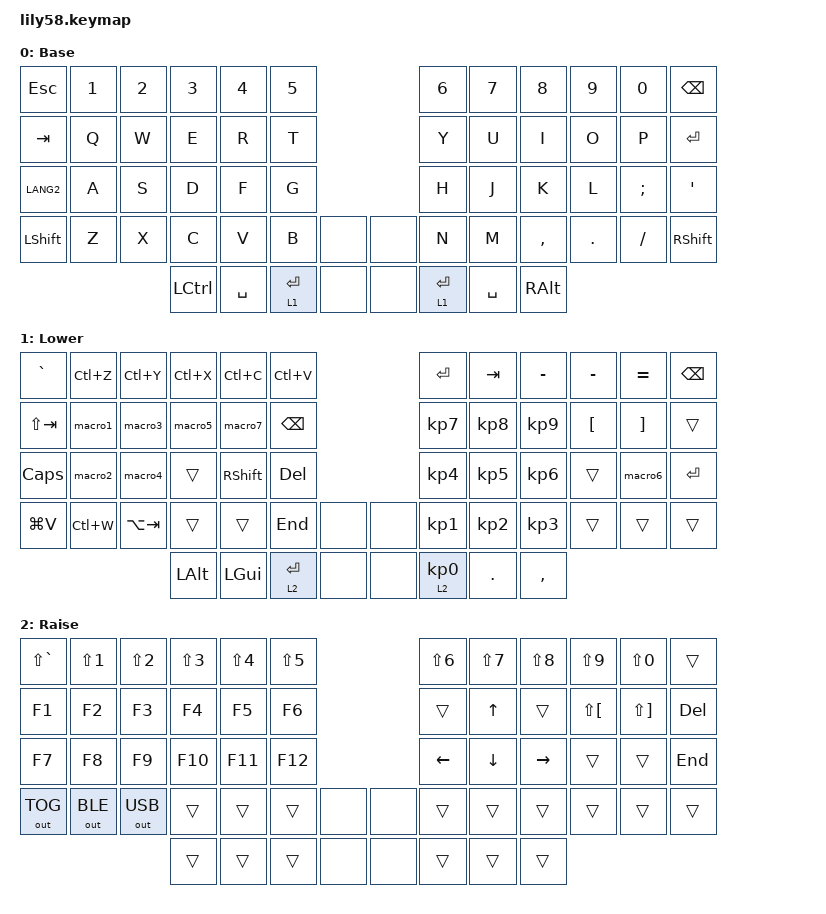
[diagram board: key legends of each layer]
/*
 * Copyright (c) 2020 The ZMK Contributors
 *
 * SPDX-License-Identifier: MIT
 */

#include <behaviors.dtsi>
#include <dt-bindings/zmk/keys.h>
#include <dt-bindings/zmk/outputs.h>

/ {
    macros {
        macro1: macro1 {
            compatible = "zmk,behavior-macro";
            #binding-cells = <0>;
            bindings = <&kp R &kp B &kp G &kp W &kp N0 &kp N1 &kp N3 &kp ENTER &kp D &kp K &kp S &kp S &kp U &kp D &kp EXCL &kp N1 &kp N1 &kp ENTER &kp ENTER>;
            tap-ms = <0>;
            wait-ms = <0>;
        };

        macro2: macro2 {
            compatible = "zmk,behavior-macro";
            #binding-cells = <0>;
            bindings = <&kp D &kp K &kp S &kp S &kp U &kp D &kp EXCL &kp N1 &kp N1 &kp ENTER>;
            wait-ms = <0>;
            tap-ms = <0>;
        };

        macro3: macro3 {
            compatible = "zmk,behavior-macro";
            #binding-cells = <0>;
            bindings = <&kp R &kp B &kp G &kp W &kp N0 &kp N1 &kp TAB &kp R &kp B &kp N2 &kp N4 &kp N3 &kp N7 &kp N8 &kp N0 &kp N0 &kp EXCL &kp ENTER>;
            wait-ms = <0>;
            tap-ms = <0>;
        };

        macro4: macro4 {
            compatible = "zmk,behavior-macro";
            #binding-cells = <0>;
            bindings = <&kp R &kp B &kp N2 &kp N4 &kp N3 &kp N7 &kp N8 &kp N0 &kp N0 &kp EXCL &kp ENTER>;
            wait-ms = <0>;
            tap-ms = <0>;
        };

        macro5: macro5 {
            compatible = "zmk,behavior-macro";
            #binding-cells = <0>;
            bindings = <&kp LS(A) &kp N3 &kp N9 &kp N8 &kp N2 &kp N7 &kp N9 &kp N5 &kp TAB &kp N7 &kp N4 &kp N3 &kp N1 &kp TAB &kp N0 &kp N4 &kp N3 &kp N0>;
            wait-ms = <0>;
            tap-ms = <0>;
        };

        macro6: macro6 {
            compatible = "zmk,behavior-macro";
            #binding-cells = <0>;
            bindings = <&kp N0 &kp N0 &kp N0>;
            wait-ms = <0>;
            tap-ms = <0>;
        };

        macro7: macro7 {
            compatible = "zmk,behavior-macro";
            #binding-cells = <0>;
            bindings = <&kp N1 &kp N1 &kp N0 &kp N1 &kp N1 &kp N1 &kp N4 &kp N4 &kp N0 &kp N4 &kp N8 &kp N2 &kp N0>;
            wait-ms = <0>;
            tap-ms = <0>;
        };
    };

    behaviors {
        hm: hm {
            compatible = "zmk,behavior-hold-tap";
            label = "HM";
            bindings = <&mo>, <&kp>;

            #binding-cells = <2>;
            tapping-term-ms = <200>;
            quick-tap-ms = <175>;
            flavor = "tap-preferred";
        };
    };

    keymap {
        compatible = "zmk,keymap";

        default_layer {
            // ------------------------------------------------------------------------------------------------------------
            // |  ESC  |  1  |  2  |  3   |  4   |  5   |                   |  6   |  7    |  8    |  9   |   0   |   `   |
            // |  TAB  |  Q  |  W  |  E   |  R   |  T   |                   |  Y   |  U    |  I    |  O   |   P   |   -   |
            // |  CTRL |  A  |  S  |  D   |  F   |  G   |                   |  H   |  J    |  K    |  L   |   ;   |   '   |
            // | SHIFT |  Z  |  X  |  C   |  V   |  B   |  n/a   |  |  n/a  |  N   |  M    |  ,    |  .   |   /   | SHIFT |
            //                     | GUI  | LOWER| SPACE|  n/a   |  |  n/a  | ENTER| RAISE | BSPC  |
            // Note: Silakka54 has 54 keys - the 4 positions marked n/a are not present (inner thumb + encoder positions)

            display-name = "Base";
            bindings = <
&kp ESC    &kp N1  &kp N2  &kp N3            &kp N4     &kp N5                       &kp N6       &kp N7     &kp N8         &kp N9   &kp N0    &kp BACKSPACE
&kp TAB    &kp Q   &kp W   &kp E             &kp R      &kp T                        &kp Y        &kp U      &kp I          &kp O    &kp P     &kp ENTER
&kp LANG2  &kp A   &kp S   &kp D             &kp F      &kp G                        &kp H        &kp J      &kp K          &kp L    &kp SEMI  &kp SQT
&kp LSHFT  &kp Z   &kp X   &kp C             &kp V      &kp B        &none    &none  &kp N        &kp M      &kp COMMA      &kp DOT  &kp FSLH  &kp RSHFT
                           &kp LEFT_CONTROL  &kp SPACE  &hm 1 ENTER  &none    &none  &hm 1 ENTER  &kp SPACE  &kp RIGHT_ALT
            >;
        };

        lower_layer {
            // ------------------------------------------------------------------------------------------------------------
            // | BTCLR | BT1 | BT2 |  BT3 |  BT4 |  BT5 |                   | USB  | BLE   |       |      |       |BTCLRALL|
            // |  F1   |  F2 |  F3 |  F4  |  F5  |  F6  |                   |  F7  |  F8   |  F9   |  F10 |  F11  |  F12  |
            // |   `   |  !  |  @  |  #   |  $   |  %   |                   |  ^   |  &    |  *    |  (   |   )   |   ~   |
            // |       |     |     |      |      |      |  n/a   |  |  n/a  |      |  _    |  +    |  {   |   }   |  "|"  |
            //                     |      |      |      |  n/a   |  |  n/a  |      |       |       |

            display-name = "Lower";
            bindings = <
&kp GRAVE     &kp LC(Z)  &kp LC(Y)    &kp LC(X)     &kp LC(C)        &kp LC(V)                      &kp ENTER          &kp TAB          &kp MINUS        &kp MINUS         &kp EQUAL  &kp BACKSPACE
&kp LS(TAB)   &macro1    &macro3      &macro5       &macro7          &kp BACKSPACE                  &kp KP_NUMBER_7    &kp KP_NUMBER_8  &kp KP_NUMBER_9  &kp LEFT_BRACKET  &kp RBKT   &trans
&kp CAPSLOCK  &macro2    &macro4      &trans        &kp RIGHT_SHIFT  &kp DEL                        &kp KP_NUMBER_4    &kp KP_NUMBER_5  &kp KP_NUMBER_6  &trans            &macro6    &kp ENTER
&kp LG(V)     &kp LC(W)  &kp LA(TAB)  &trans        &trans           &kp END        &none    &none  &kp KP_NUMBER_1    &kp KP_NUMBER_2  &kp KP_NUMBER_3  &trans            &trans     &trans
                                      &kp LEFT_ALT  &kp LEFT_GUI     &hm 2 ENTER    &none    &none  &hm 2 KP_NUMBER_0  &kp DOT          &kp COMMA
            >;
        };

        raise_layer {
            // ------------------------------------------------------------------------------------------------------------
            // |       |     |     |      |      |      |                   |      |       |       |      |       |       |
            // |   `   |  1  |  2  |  3   |  4   |  5   |                   |  6   |   7   |   8   |  9   |   0   |       |
            // |   F1  |  F2 |  F3 |  F4  |  F5  |  F6  |                   |      |   <-  |   v   |  ^   |  ->   |       |
            // |   F7  |  F8 |  F9 |  F10 |  F11 |  F12 |  n/a   |  |  n/a  |  +   |   -   |   =   |  [   |   ]   |   \   |
            //                     |      |      |      |  n/a   |  |  n/a  |      |       |       |

            display-name = "Raise";
            bindings = <
&kp LS(GRAVE)  &kp LS(NUMBER_1)  &kp LS(NUMBER_2)  &kp LS(NUMBER_3)  &kp LS(NUMBER_4)  &kp LS(N5)                  &kp LS(NUMBER_6)  &kp LS(NUMBER_7)  &kp LS(NUMBER_8)  &kp LS(NUMBER_9)      &kp LS(NUMBER_0)       &trans
&kp F1         &kp F2            &kp F3            &kp F4            &kp F5            &kp F6                      &trans            &kp UP            &trans            &kp LS(LEFT_BRACKET)  &kp LS(RIGHT_BRACKET)  &kp DEL
&kp F7         &kp F8            &kp F9            &kp F10           &kp F11           &kp F12                     &kp LEFT          &kp DOWN          &kp RIGHT         &trans                &trans                 &kp END
&out OUT_TOG   &out OUT_BLE      &out OUT_USB      &trans            &trans            &trans      &none    &none  &trans            &trans            &trans            &trans                &trans                 &trans
                                                   &trans            &trans            &trans      &none    &none  &trans            &trans            &trans
            >;
        };

        extra_1 { status = "reserved"; };

        extra_2 { status = "reserved"; };

        extra_3 { status = "reserved"; };
    };
};
